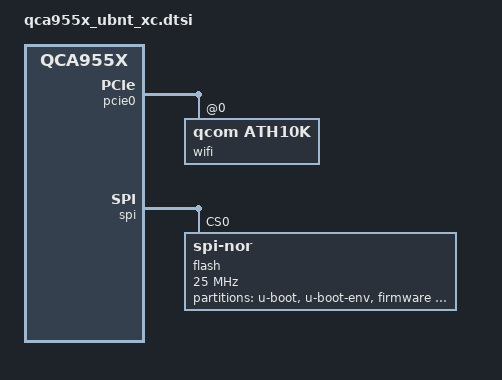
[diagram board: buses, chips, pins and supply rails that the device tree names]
// SPDX-License-Identifier: GPL-2.0-only

#include "qca955x.dtsi"

#include <dt-bindings/gpio/gpio.h>
#include <dt-bindings/input/input.h>

&pcie0 {
	status = "okay";

	wifi@0,0 {
		compatible = "qcom,ath10k";
		reg = <0x0000 0 0 0 0>;
		nvmem-cells = <&cal_art_5000>;
		nvmem-cell-names = "calibration";
	};
};

&spi {
	status = "okay";

	flash@0 {
		compatible = "jedec,spi-nor";
		reg = <0>;
		spi-max-frequency = <25000000>;

		partitions {
			compatible = "fixed-partitions";
			#address-cells = <1>;
			#size-cells = <1>;

			partition@0 {
				label = "u-boot";
				reg = <0x000000 0x040000>;
				read-only;
			};

			partition@40000 {
				label = "u-boot-env";
				reg = <0x040000 0x010000>;
				read-only;
			};

			partition@50000 {
				compatible = "denx,uimage";
				label = "firmware";
				reg = <0x050000 0xf60000>;
			};

			partition@fb0000 {
				label = "cfg";
				reg = <0xfb0000 0x040000>;
				read-only;
			};

			art: partition@ff0000 {
				label = "art";
				reg = <0xff0000 0x010000>;
				read-only;

				nvmem-layout {
					compatible = "fixed-layout";
					#address-cells = <1>;
					#size-cells = <1>;

					macaddr_art_0: macaddr@0 {
						reg = <0x0 0x6>;
					};

					cal_art_5000: calibration@5000 {
						reg = <0x5000 0x844>;
					};
				};
			};
		};
	};
};
